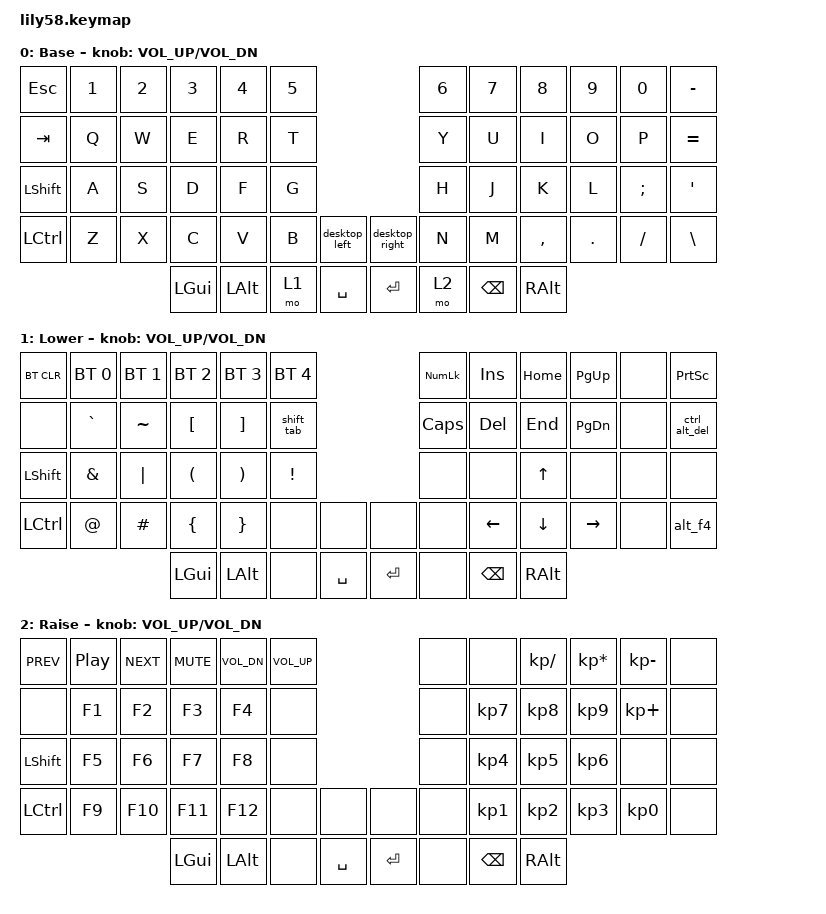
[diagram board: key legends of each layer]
/*
 * Copyright (c) 2020 The ZMK Contributors
 *
 * SPDX-License-Identifier: MIT
 */

#include <behaviors.dtsi>
#include <dt-bindings/zmk/bt.h>
#include <dt-bindings/zmk/keys.h>

/ {
    macros {
        desktop_left: desktop_left {
            compatible = "zmk,behavior-macro";
            #binding-cells = <0>;
            bindings =
                <&macro_press>,
                <&kp LCTRL &kp LGUI>,
                <&macro_tap>,
                <&kp LEFT>,
                <&macro_release>,
                <&kp LCTRL &kp LGUI>;

            label = "DESKTOP_LEFT";
            tap-ms = <0>;
        };

        desktop_right: desktop_right {
            compatible = "zmk,behavior-macro";
            #binding-cells = <0>;
            bindings =
                <&macro_press>,
                <&kp LCTRL &kp LGUI>,
                <&macro_tap>,
                <&kp RIGHT>,
                <&macro_release>,
                <&kp LCTRL &kp LGUI>;

            label = "DESKTOP_RIGHT";
            tap-ms = <0>;
        };

        ctrl_alt_del: CTRL_ALT_DEL {
            compatible = "zmk,behavior-macro";
            #binding-cells = <0>;
            bindings =
                <&macro_press>,
                <&kp LCTRL &kp LALT>,
                <&macro_tap>,
                <&kp DEL>,
                <&macro_release>,
                <&kp LCTRL &kp LALT>;

            label = "CTRL_ALT_DEL";
        };

        alt_f4: alt_f4 {
            compatible = "zmk,behavior-macro";
            #binding-cells = <0>;
            bindings =
                <&macro_press>,
                <&kp LALT>,
                <&macro_tap>,
                <&kp F4>,
                <&macro_release>,
                <&kp LALT>;

            label = "ALT_F4";
        };

        shift_tab: shift_tab {
            compatible = "zmk,behavior-macro";
            #binding-cells = <0>;
            bindings =
                <&macro_press>,
                <&kp LSHFT>,
                <&macro_tap>,
                <&kp TAB>,
                <&macro_release>,
                <&kp LSHFT>;

            label = "SHIFT_TAB";
        };
    };

    keymap {
        compatible = "zmk,keymap";

        default_layer {
            // ------------------------------------------------------------------------------------------------------------
            // |  ESC  |  1  |  2  |  3   |  4   |  5   |                   |  6   |  7    |  8    |  9   |   0   |   `   |
            // |  TAB  |  Q  |  W  |  E   |  R   |  T   |                   |  Y   |  U    |  I    |  O   |   P   |   -   |
            // |  CTRL |  A  |  S  |  D   |  F   |  G   |                   |  H   |  J    |  K    |  L   |   ;   |   '   |
            // | SHIFT |  Z  |  X  |  C   |  V   |  B   |   "["  |  |  "]"  |  N   |  M    |  ,    |  .   |   /   | SHIFT |
            //                     | ALT  | GUI  | LOWER|  SPACE |  | ENTER | RAISE| BSPC  | GUI   |

            display-name = "Base";
            bindings = <
&kp ESC    &kp N1  &kp N2  &kp N3    &kp N4    &kp N5                                   &kp N6  &kp N7    &kp N8     &kp N9   &kp N0    &kp MINUS
&kp TAB    &kp Q   &kp W   &kp E     &kp R     &kp T                                    &kp Y   &kp U     &kp I      &kp O    &kp P     &kp EQUAL
&kp LSHFT  &kp A   &kp S   &kp D     &kp F     &kp G                                    &kp H   &kp J     &kp K      &kp L    &kp SEMI  &kp SQT
&kp LCTRL  &kp Z   &kp X   &kp C     &kp V     &kp B   &desktop_left    &desktop_right  &kp N   &kp M     &kp COMMA  &kp DOT  &kp FSLH  &kp BACKSLASH
                           &kp LGUI  &kp LALT  &mo 1   &kp SPACE        &kp RET         &mo 2   &kp BSPC  &kp RALT
            >;

            sensor-bindings = <&inc_dec_kp C_VOL_UP C_VOL_DN>;
        };

        lower_layer {
            // ------------------------------------------------------------------------------------------------------------
            // | BTCLR | BT1 | BT2 |  BT3 |  BT4 |  BT5 |                   |      |       |       |      |       |       |
            // |  F1   |  F2 |  F3 |  F4  |  F5  |  F6  |                   |  F7  |  F8   |  F9   |  F10 |  F11  |  F12  |
            // |   `   |  !  |  @  |  #   |  $   |  %   |                   |  ^   |  &    |  *    |  (   |   )   |   ~   |
            // |       |     |     |      |      |      |        |  |       |      |  _    |  +    |  {   |   }   |  "|"  |
            //                     |      |      |      |        |  |       |      |       |       |

            display-name = "Lower";
            bindings = <
&bt BT_CLR  &bt BT_SEL 0  &bt BT_SEL 1  &bt BT_SEL 2  &bt BT_SEL 3  &bt BT_SEL 4                          &kp KP_NUMLOCK  &kp INS        &kp HOME  &kp PG_UP  &none  &kp PSCRN
&none       &kp GRAVE     &kp TILDE     &kp LBKT      &kp RBKT      &shift_tab                            &kp CAPSLOCK    &kp DEL        &kp END   &kp PG_DN  &none  &ctrl_alt_del
&kp LSHFT   &kp AMPS      &kp PIPE      &kp LPAR      &kp RPAR      &kp EXCL                              &none           &none          &kp UP    &none      &none  &none
&kp LCTRL   &kp AT        &kp POUND     &kp LBRC      &kp RBRC      &none         &none        &none      &none           &kp LEFT       &kp DOWN  &kp RIGHT  &none  &alt_f4
                                        &kp LGUI      &kp LALT      &none         &kp SPACE    &kp ENTER  &none           &kp BACKSPACE  &kp RALT
            >;

            sensor-bindings = <&inc_dec_kp C_VOL_UP C_VOL_DN>;
        };

        raise_layer {
            // ------------------------------------------------------------------------------------------------------------
            // |       |     |     |      |      |      |                   |      |       |       |      |       |       |
            // |   `   |  1  |  2  |  3   |  4   |  5   |                   |  6   |   7   |   8   |  9   |   0   |       |
            // |   F1  |  F2 |  F3 |  F4  |  F5  |  F6  |                   |      |   <-  |   v   |  ^   |  ->   |       |
            // |   F7  |  F8 |  F9 |  F10 |  F11 |  F12 |        |  |       |  +   |   -   |   =   |  [   |   ]   |   \   |
            //                     |      |      |      |        |  |       |      |       |       |

            display-name = "Raise";
            bindings = <
&kp C_PREV  &kp C_PP  &kp C_NEXT  &kp C_MUTE  &kp C_VOL_DN  &kp C_VOL_UP                          &none  &none            &kp KP_DIVIDE    &kp KP_MULTIPLY  &kp KP_SUBTRACT  &none
&none       &kp F1    &kp F2      &kp F3      &kp F4        &none                                 &none  &kp KP_NUMBER_7  &kp KP_NUMBER_8  &kp KP_NUMBER_9  &kp KP_PLUS      &none
&kp LSHFT   &kp F5    &kp F6      &kp F7      &kp F8        &none                                 &none  &kp KP_NUMBER_4  &kp KP_NUMBER_5  &kp KP_NUMBER_6  &none            &none
&kp LCTRL   &kp F9    &kp F10     &kp F11     &kp F12       &none         &none        &none      &none  &kp KP_NUMBER_1  &kp KP_NUMBER_2  &kp KP_NUMBER_3  &kp KP_NUMBER_0  &none
                                  &kp LGUI    &kp LALT      &none         &kp SPACE    &kp ENTER  &none  &kp BACKSPACE    &kp RALT
            >;

            sensor-bindings = <&inc_dec_kp C_VOL_UP C_VOL_DN>;
        };
    };
};
